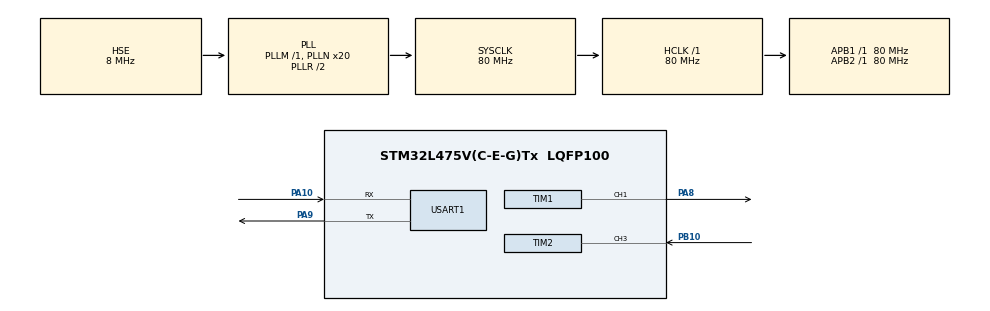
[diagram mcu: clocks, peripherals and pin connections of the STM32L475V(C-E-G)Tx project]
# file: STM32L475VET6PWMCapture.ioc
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Mcu.Family=STM32L4
Mcu.Name=STM32L475V(C-E-G)Tx
Mcu.Package=LQFP100
NVIC.PriorityGroup=NVIC_PRIORITYGROUP_2
NVIC.TIM2_IRQn=true\:0\:0\:false\:false\:true\:true\:true\:true
PA10.Mode=Asynchronous
PA10.Signal=USART1_RX
PA13\ (JTMS-SWDIO).Mode=Serial_Wire
PA13\ (JTMS-SWDIO).Signal=SYS_JTMS-SWDIO
PA14\ (JTCK-SWCLK).Mode=Serial_Wire
PA14\ (JTCK-SWCLK).Signal=SYS_JTCK-SWCLK
PA8.GPIO_PuPd=GPIO_PULLDOWN
PA8.GPIO_Speed=GPIO_SPEED_FREQ_VERY_HIGH
PA8.Signal=S_TIM1_CH1
PA9.Mode=Asynchronous
PA9.Signal=USART1_TX
PB10.GPIO_ModeDefaultPP=GPIO_MODE_AF_PP
PB10.GPIO_PuPd=GPIO_PULLDOWN
PB10.GPIO_Speed=GPIO_SPEED_FREQ_LOW
PB10.Signal=S_TIM2_CH3
PC14-OSC32_IN\ (PC14).Mode=LSE-External-Oscillator
PC14-OSC32_IN\ (PC14).Signal=RCC_OSC32_IN
PC15-OSC32_OUT\ (PC15).Mode=LSE-External-Oscillator
PC15-OSC32_OUT\ (PC15).Signal=RCC_OSC32_OUT
PH0-OSC_IN\ (PH0).Mode=HSE-External-Oscillator
PH0-OSC_IN\ (PH0).Signal=RCC_OSC_IN
PH1-OSC_OUT\ (PH1).Mode=HSE-External-Oscillator
PH1-OSC_OUT\ (PH1).Signal=RCC_OSC_OUT
ProjectManager.HeapSize=0x200
ProjectManager.StackSize=0x400
ProjectManager.TargetToolchain=MDK-ARM V5.32
RCC.ADCFreq_Value=32000000
RCC.AHBFreq_Value=80000000
RCC.APB1Freq_Value=80000000
RCC.APB1TimFreq_Value=80000000
RCC.APB2Freq_Value=80000000
RCC.APB2TimFreq_Value=80000000
RCC.CortexFreq_Value=80000000
RCC.HCLKFreq_Value=80000000
RCC.HSE_VALUE=8000000
RCC.HSI_VALUE=16000000
RCC.MSI_VALUE=4000000
RCC.PLLN=20
RCC.PLLSourceVirtual=RCC_PLLSOURCE_HSE
RCC.SYSCLKFreq_VALUE=80000000
RCC.SYSCLKSource=RCC_SYSCLKSOURCE_PLLCLK
RCC.USBFreq_Value=32000000
RCC.VCOOutputFreq_Value=160000000
SH.S_TIM1_CH1.0=TIM1_CH1,PWM Generation1 CH1
SH.S_TIM2_CH3.0=TIM2_CH3,Input_Capture3_from_TI3
TIM1.Channel-PWM\ Generation1\ CH1=TIM_CHANNEL_1
TIM1.Period=100-1
TIM1.Prescaler=80-1
TIM2.Channel-Input_Capture3_from_TI3=TIM_CHANNEL_3
TIM2.ICFilter_CH3=8
TIM2.Prescaler=80-1
USART1.VirtualMode-Asynchronous=VM_ASYNC
VP_TIM1_VS_ClockSourceINT.Mode=Internal
VP_TIM2_VS_ClockSourceINT.Mode=Internal
board=custom

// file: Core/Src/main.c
/* USER CODE BEGIN Header */
/**
  ******************************************************************************
  * @file           : main.c
  * @brief          : Main program body
  ******************************************************************************
  * @attention
  *
  * Copyright (c) 2023 STMicroelectronics.
  * All rights reserved.
  *
  * This software is licensed under terms that can be found in the LICENSE file
  * in the root directory of this software component.
  * If no LICENSE file comes with this software, it is provided AS-IS.
  *
  ******************************************************************************
  */
/* USER CODE END Header */
#include "main.h"
#include "tim.h"
#include "usart.h"
#include "gpio.h"

/* USER CODE BEGIN Includes */
#include <stdio.h>
#include "delay.h"

/* USER CODE END Includes */

void SystemClock_Config(void);

/* USER CODE BEGIN 0 */

uint32_t IC_Val1 = 0;
uint32_t IC_Val2 = 0;
uint32_t Dif = 0;

uint8_t count = 0;

float ftim1 = 1000;//pwm波的频率�?1000kHz

float freq = 0.0;

int IsFirstCap = 0;

int fputc(int ch, FILE *f)
{
	uint8_t temp[1] = {ch};
	HAL_UART_Transmit(&huart1, temp, 1, 1);

}

/* USER CODE END 0 */

int main(void)
{

  /* MCU Configuration--------------------------------------------------------*/

  /* Reset of all peripherals, Initializes the Flash interface and the Systick. */
  HAL_Init();

  /* Configure the system clock */
  SystemClock_Config();

  /* Initialize all configured peripherals */
  MX_GPIO_Init();
  MX_USART1_UART_Init();
  MX_TIM1_Init();
  MX_TIM2_Init();
  /* USER CODE BEGIN 2 */
  delay_init(80);

  TIM1 -> CCR1 = 50;//寄存器写�??
//  __HAL_TIM_SetCompare(&htim1,TIM_CHANNEL_1,50);//宏定义写�?

  HAL_UART_Transmit(&huart1,"system working !!!\r\n", sizeof("system working !!!\r\n"), 10);

  HAL_TIM_PWM_Start(&htim1, TIM_CHANNEL_1);//�?启TIM1的�?�道1的PWM波输�??

  HAL_TIM_IC_Start_IT(&htim2, TIM_CHANNEL_3);//�?启TIM2的�?�道3的输入捕获中�??

  /* USER CODE END 2 */

  /* Infinite loop */
  /* USER CODE BEGIN WHILE */
  while (1)
  {

	  delay_ms(10);

    /* USER CODE END WHILE */

  }
}

void SystemClock_Config(void)
{
  RCC_OscInitTypeDef RCC_OscInitStruct = {0};
  RCC_ClkInitTypeDef RCC_ClkInitStruct = {0};

  /** Configure the main internal regulator output voltage
  */
  if (HAL_PWREx_ControlVoltageScaling(PWR_REGULATOR_VOLTAGE_SCALE1) != HAL_OK)
  {
    Error_Handler();
  }

  /** Initializes the RCC Oscillators according to the specified parameters
  * in the RCC_OscInitTypeDef structure.
  */
  RCC_OscInitStruct.OscillatorType = RCC_OSCILLATORTYPE_HSE;
  RCC_OscInitStruct.HSEState = RCC_HSE_ON;
  RCC_OscInitStruct.PLL.PLLState = RCC_PLL_ON;
  RCC_OscInitStruct.PLL.PLLSource = RCC_PLLSOURCE_HSE;
  RCC_OscInitStruct.PLL.PLLM = 1;
  RCC_OscInitStruct.PLL.PLLN = 20;
  RCC_OscInitStruct.PLL.PLLP = RCC_PLLP_DIV7;
  RCC_OscInitStruct.PLL.PLLQ = RCC_PLLQ_DIV2;
  RCC_OscInitStruct.PLL.PLLR = RCC_PLLR_DIV2;
  if (HAL_RCC_OscConfig(&RCC_OscInitStruct) != HAL_OK)
  {
    Error_Handler();
  }

  /** Initializes the CPU, AHB and APB buses clocks
  */
  RCC_ClkInitStruct.ClockType = RCC_CLOCKTYPE_HCLK|RCC_CLOCKTYPE_SYSCLK
                              |RCC_CLOCKTYPE_PCLK1|RCC_CLOCKTYPE_PCLK2;
  RCC_ClkInitStruct.SYSCLKSource = RCC_SYSCLKSOURCE_PLLCLK;
  RCC_ClkInitStruct.AHBCLKDivider = RCC_SYSCLK_DIV1;
  RCC_ClkInitStruct.APB1CLKDivider = RCC_HCLK_DIV1;
  RCC_ClkInitStruct.APB2CLKDivider = RCC_HCLK_DIV1;

  if (HAL_RCC_ClockConfig(&RCC_ClkInitStruct, FLASH_LATENCY_4) != HAL_OK)
  {
    Error_Handler();
  }
}

/* USER CODE BEGIN 4 */

void HAL_TIM_IC_CaptureCallback(TIM_HandleTypeDef *htim)
{
	//printf("Interrupt\r\n");

	if(htim->Channel == HAL_TIM_ACTIVE_CHANNEL_3)//判断当前的激活�?�道
	{
		if(IsFirstCap == 0)
		{

			IC_Val1 = HAL_TIM_ReadCapturedValue(htim, TIM_CHANNEL_3);//获得第一次捕获的计数�??
			IsFirstCap = 1;//准备第二次捕获
			//printf("First capture:%d \r\n",IC_Val1);
		}
		else
		{
			IC_Val2 = HAL_TIM_ReadCapturedValue(htim, TIM_CHANNEL_3);//获得第二次捕获的计数�??
			//printf("Second capture:%d \r\n",IC_Val2);
			if(IC_Val2 > IC_Val1)//判断此次是否溢出
			{
				Dif = IC_Val2 - IC_Val1;
			}
			else if(IC_Val1 > IC_Val2)
			{
				Dif = 0XFFFFFFFF - IC_Val1 + IC_Val2;
			}

			//printf("Frequency caculate\r\n");
			freq = ftim1 / Dif;

			__HAL_TIM_SetCounter(htim, 0);//计数器归零

			printf("The frequency is %.4f kHz\r\n",freq);

			delay_ms(1000);

			freq = 0.0;

			printf("Restart capture\r\n");

			IsFirstCap = 0;//重新开始捕获??
		}
	}
}

/* USER CODE END 4 */

void Error_Handler(void)
{
  __disable_irq();
  while (1)
  {
  }
}
